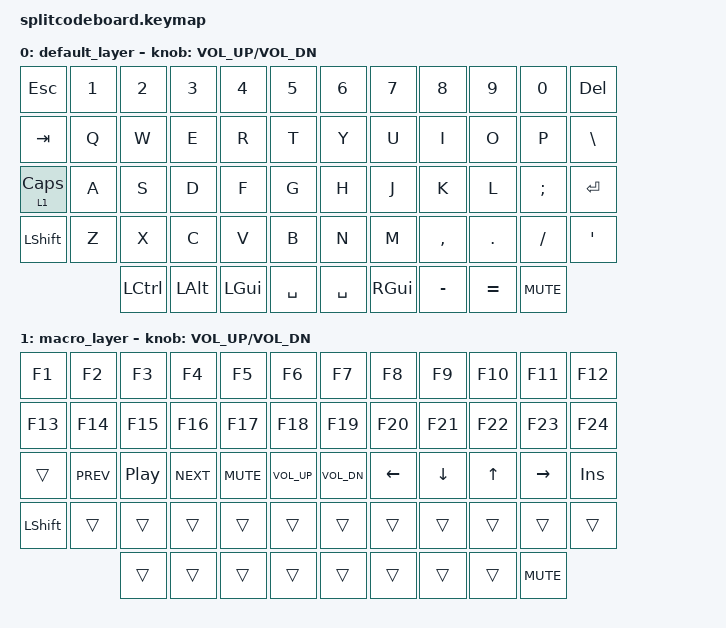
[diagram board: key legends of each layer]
///////////////////////////////////////////////////////////////////////////////
// Copyright (c) 2026 SuperCode Studios
// https://scstudios.tech
// SplitCodeBoard Version 1.0.0
// Licence: GNU Affero General Public License v3.0 only (AGPL-3.0-only)
// SPDX-License-Identifier: AGPL-3.0-only
// Maintainer: SuperCode Studios
///////////////////////////////////////////////////////////////////////////////

#include <behaviors.dtsi>
#include <dt-bindings/zmk/keys.h>

/ {
    behaviors {
        caps_macro: caps_macro {
            compatible = "zmk,behavior-hold-tap";
            #binding-cells = <2>;
            flavor = "tap-preferred";
            tapping-term-ms = <200>;
            bindings = <&mo>, <&kp>;
            display-name = "Caps/Macro";
        };
    };

    keymap {
        compatible = "zmk,keymap";

        default_layer {
            bindings = <
                &kp ESC   &kp N1    &kp N2    &kp N3    &kp N4    &kp N5    &kp N6    &kp N7    &kp N8    &kp N9     &kp N0      &kp DEL
                &kp TAB   &kp Q     &kp W     &kp E     &kp R     &kp T     &kp Y     &kp U     &kp I     &kp O      &kp P       &kp BSLH
                &caps_macro 1 CAPS  &kp A     &kp S     &kp D     &kp F     &kp G     &kp H     &kp J     &kp K     &kp L      &kp SCLN    &kp ENTER
                &kp LSHFT &kp Z     &kp X     &kp C     &kp V     &kp B     &kp N     &kp M     &kp COMMA &kp DOT    &kp SLASH   &kp APOS
                                      &kp LCTRL &kp LALT &kp LGUI  &kp SPACE &kp SPACE &kp RGUI  &kp MINUS &kp EQUAL &kp C_MUTE
            >;

            sensor-bindings = <&inc_dec_kp C_VOL_UP C_VOL_DN>;
        };

        macro_layer {
            bindings = <
                &kp F1    &kp F2    &kp F3    &kp F4    &kp F5    &kp F6    &kp F7    &kp F8    &kp F9    &kp F10    &kp F11     &kp F12
                &kp F13   &kp F14   &kp F15   &kp F16   &kp F17   &kp F18   &kp F19   &kp F20   &kp F21   &kp F22    &kp F23     &kp F24
                &trans    &kp C_PREV &kp C_PP &kp C_NEXT &kp C_MUTE &kp C_VOL_UP &kp C_VOL_DN &kp LEFT &kp DOWN &kp UP &kp RIGHT &kp INS
                &kp LSHFT &trans    &trans    &trans    &trans    &trans    &trans    &trans    &trans    &trans    &trans      &trans
                                      &trans    &trans    &trans    &trans    &trans    &trans    &trans     &trans  &kp C_MUTE
            >;

            sensor-bindings = <&inc_dec_kp C_VOL_UP C_VOL_DN>;
        };
    };
};
